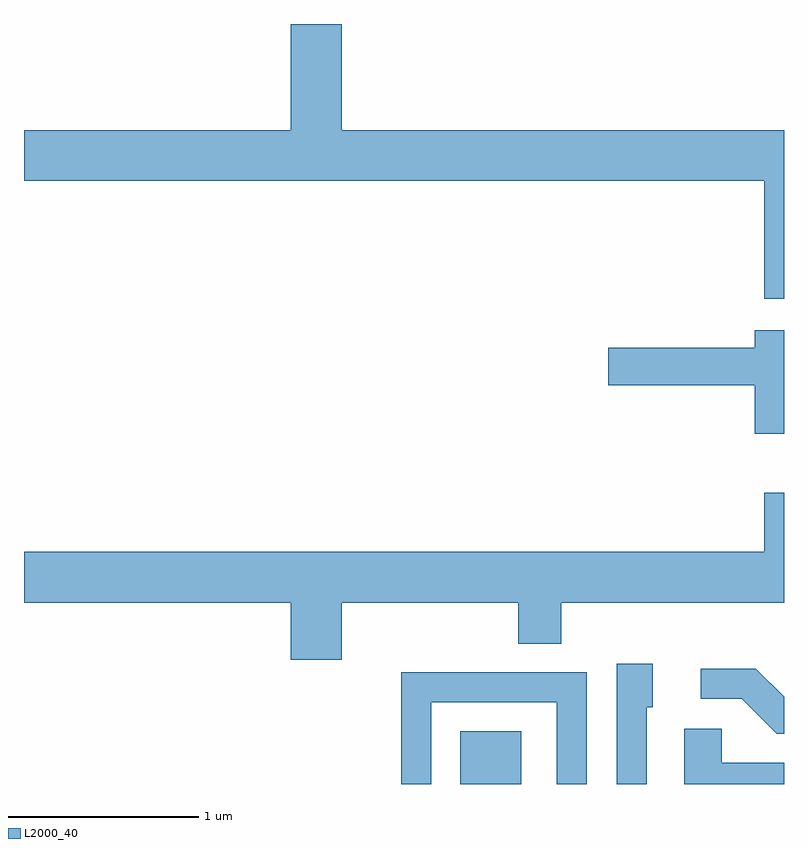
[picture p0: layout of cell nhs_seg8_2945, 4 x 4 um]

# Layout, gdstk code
import gdstk
lib = gdstk.Library(unit=1e-6, precision=1e-09)
def R(c, l, rs):  # rectangles x0, y0, x1, y1
    for r in rs: c.add(gdstk.rectangle(r[:2], r[2:], *l))
def P(c, l, *ps):  # polygons
    for p in ps: c.add(gdstk.Polygon(p, *l))
L2000_40 = (2000, 40)

nhs_seg8_2945 = lib.new_cell('nhs_seg8_2945')
R(nhs_seg8_2945, L2000_40, [(275.906,1844.342,276.229,1844.619)])
P(nhs_seg8_2945, L2000_40, [(277.611,1847.784),(275.284,1847.784),(275.284,1848.342),(275.016,1848.342),(275.016,1847.784),(273.611,1847.784),(273.611,1847.516),(277.506,1847.516),(277.506,1846.896),(277.611,1846.896)],
  [(277.611,1846.729),(277.456,1846.729),(277.456,1846.639),(276.686,1846.639),(276.686,1846.441),(277.456,1846.441),(277.456,1846.186),(277.611,1846.186)],
  [(275.284,1845.296),(276.211,1845.296),(276.211,1845.081),(276.439,1845.081),(276.439,1845.296),(277.611,1845.296),(277.611,1845.874),(277.506,1845.874),(277.506,1845.564),(273.611,1845.564),(273.611,1845.296),(275.016,1845.296),(275.016,1844.996),(275.284,1844.996)],
  [(276.889,1844.746),(276.919,1844.746),(276.919,1844.974),(276.731,1844.974),(276.731,1844.342),(276.889,1844.342)],
  [(277.611,1844.8),(277.462,1844.949),(277.173,1844.949),(277.173,1844.791),(277.389,1844.791),(277.574,1844.606),(277.611,1844.606)],
  [(275.754,1844.771),(276.416,1844.771),(276.416,1844.342),(276.574,1844.342),(276.574,1844.929),(275.596,1844.929),(275.596,1844.342),(275.754,1844.342)],
  [(277.611,1844.454),(277.284,1844.454),(277.284,1844.634),(277.086,1844.634),(277.086,1844.342),(277.611,1844.342)])

lib.write_gds('nhs_seg8_2945.gds')
